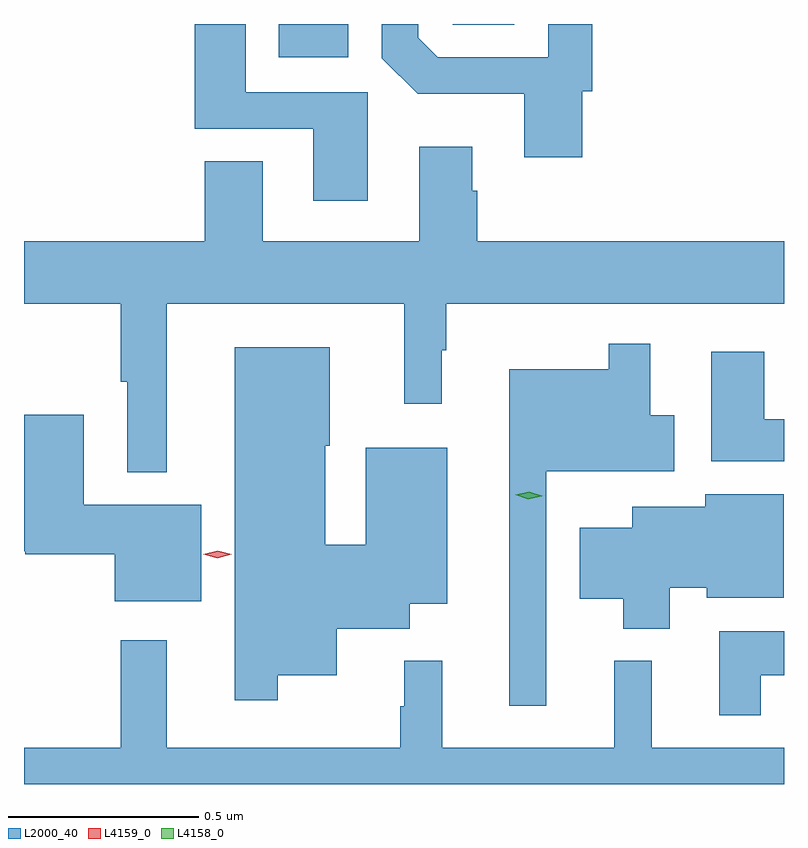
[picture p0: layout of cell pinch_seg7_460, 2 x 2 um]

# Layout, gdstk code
import gdstk
lib = gdstk.Library(unit=1e-6, precision=1e-09)
def R(c, l, rs):  # rectangles x0, y0, x1, y1
    for r in rs: c.add(gdstk.rectangle(r[:2], r[2:], *l))
def P(c, l, *ps):  # polygons
    for p in ps: c.add(gdstk.Polygon(p, *l))
L2000_40 = (2000, 40)
L4158_0 = (4158, 0)
L4159_0 = (4159, 0)

pinch_seg7_460 = lib.new_cell('pinch_seg7_460')
R(pinch_seg7_460, L2000_40, [(268.58,1063.868,268.762,1063.956), (269.037,1063.954,269.199,1063.956)])
P(pinch_seg7_460, L2000_40, [(268.813,1063.776),(268.492,1063.776),(268.492,1063.956),(268.358,1063.956),(268.358,1063.68),(268.67,1063.68),(268.67,1063.491),(268.813,1063.491)],
  [(269.378,1063.779),(269.405,1063.779),(269.405,1063.956),(269.289,1063.956),(269.289,1063.869),(268.998,1063.869),(268.947,1063.92),(268.947,1063.956),(268.851,1063.956),(268.851,1063.866),(268.945,1063.772),(269.225,1063.772),(269.225,1063.605),(269.378,1063.605)],
  [(268.285,1063.22),(268.91,1063.22),(268.91,1062.957),(269.008,1062.957),(269.008,1063.097),(269.02,1063.097),(269.02,1063.22),(269.909,1063.22),(269.909,1063.384),(269.102,1063.384),(269.102,1063.517),(269.089,1063.517),(269.089,1063.633),(268.949,1063.633),(268.949,1063.384),(268.537,1063.384),(268.537,1063.595),(268.385,1063.595),(268.385,1063.384),(267.909,1063.384),(267.909,1063.22),(268.164,1063.22),(268.164,1063.015),(268.181,1063.015),(268.181,1062.776),(268.285,1062.776)],
  [(269.283,1062.779),(269.62,1062.779),(269.62,1062.927),(269.557,1062.927),(269.557,1063.114),(269.448,1063.114),(269.448,1063.048),(269.186,1063.048),(269.186,1062.162),(269.283,1062.162)],
  [(268.577,1062.242),(268.732,1062.242),(268.732,1062.365),(268.924,1062.365),(268.924,1062.431),(269.023,1062.431),(269.023,1062.841),(268.808,1062.841),(268.808,1062.586),(268.702,1062.586),(268.702,1062.846),(268.714,1062.846),(268.714,1063.105),(268.463,1063.105),(268.463,1062.177),(268.577,1062.177)],
  [(269.909,1062.916),(269.857,1062.916),(269.857,1063.093),(269.717,1063.093),(269.717,1062.806),(269.909,1062.806)],
  [(268.375,1062.691),(268.066,1062.691),(268.066,1062.928),(267.909,1062.928),(267.909,1062.568),(267.912,1062.568),(267.912,1062.56),(268.148,1062.56),(268.148,1062.437),(268.375,1062.437)],
  [(269.608,1062.473),(269.706,1062.473),(269.706,1062.446),(269.908,1062.446),(269.908,1062.718),(269.702,1062.718),(269.702,1062.685),(269.51,1062.685),(269.51,1062.631),(269.372,1062.631),(269.372,1062.443),(269.486,1062.443),(269.486,1062.365),(269.608,1062.365)],
  [(269.848,1062.242),(269.909,1062.242),(269.909,1062.358),(269.738,1062.358),(269.738,1062.137),(269.848,1062.137)],
  [(269.909,1062.052),(269.561,1062.052),(269.561,1062.28),(269.462,1062.28),(269.462,1062.052),(269.009,1062.052),(269.009,1062.28),(268.91,1062.28),(268.91,1062.161),(268.899,1062.161),(268.899,1062.052),(268.285,1062.052),(268.285,1062.334),(268.164,1062.334),(268.164,1062.052),(267.909,1062.052),(267.909,1061.956),(269.909,1061.956)])
P(pinch_seg7_460, L4158_0, [(269.236,1062.706),(269.202,1062.717),(269.201,1062.717),(269.202,1062.717),(269.238,1062.725),(269.272,1062.714),(269.273,1062.714),(269.272,1062.713)])
P(pinch_seg7_460, L4159_0, [(268.418,1062.55),(268.381,1062.56),(268.381,1062.561),(268.381,1062.561),(268.419,1062.57),(268.456,1062.56),(268.456,1062.56),(268.456,1062.56)])

lib.write_gds('pinch_seg7_460.gds')
